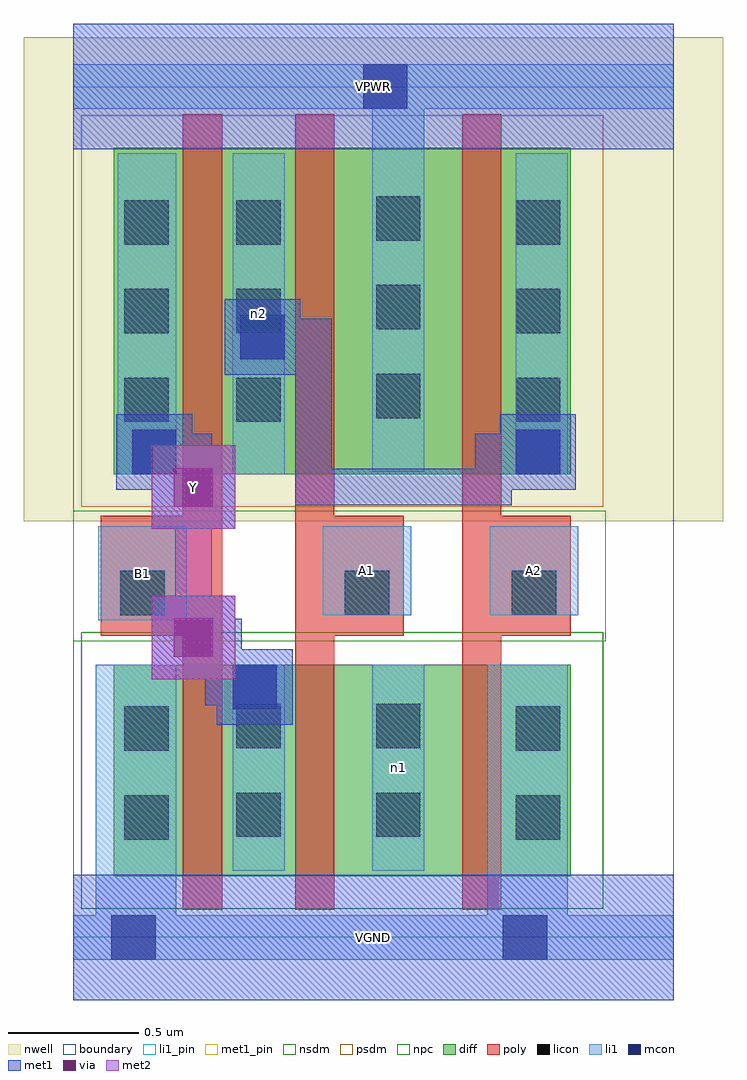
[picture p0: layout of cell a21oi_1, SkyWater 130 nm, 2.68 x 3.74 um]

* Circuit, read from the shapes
.subckt a21oi_1 A1 A2 B1 VGND VPWR Y n1 n2
XM1 Y B1 VGND VSUBS sky130_fd_pr__nfet_01v8 w=0.81 l=0.15
XM2 n1 A1 Y VSUBS sky130_fd_pr__nfet_01v8 w=0.81 l=0.15
XM3 VGND A2 n1 VSUBS sky130_fd_pr__nfet_01v8 w=0.81 l=0.15
XM4 n2 B1 Y n3 sky130_fd_pr__pfet_01v8 w=1.25 l=0.15
XM5 VPWR A1 n2 n3 sky130_fd_pr__pfet_01v8 w=1.25 l=0.15
XM6 n2 A2 VPWR n3 sky130_fd_pr__pfet_01v8 w=1.25 l=0.15
.ends

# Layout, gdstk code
import gdstk
lib = gdstk.Library(unit=1e-6, precision=1e-09)
def R(c, l, rs):  # rectangles x0, y0, x1, y1
    for r in rs: c.add(gdstk.rectangle(r[:2], r[2:], *l))
def A(c, l, x, y, w, h, nx, ny, dx, dy):  # array of equal rectangles
    R(c, l, [(x+i*dx, y+j*dy, x+i*dx+w, y+j*dy+h) for i in range(nx) for j in range(ny)])
nwell = (64, 20)
diff = (65, 20)
poly = (66, 20)
licon = (66, 44)
li1_pin = (67, 16)
li1 = (67, 20)
mcon = (67, 44)
met1_pin = (68, 16)
met1 = (68, 20)
via = (68, 44)
met2 = (69, 20)
nsdm = (93, 44)
psdm = (94, 20)
npc = (95, 20)
boundary = (235, 4)

a21oi_1 = lib.new_cell('a21oi_1')
R(a21oi_1, nwell, [(-0.19,1.595,2.49,3.45), (0,1.595,2.3,3.45)])
R(a21oi_1, diff, [(0.155,0.235,1.905,1.045), (0.155,1.775,1.905,3.025)])
R(a21oi_1, poly, [(0.42,0.105,0.57,3.155), (0.85,0.105,1,3.155), (1.49,0.105,1.64,3.155), (0.105,1.155,0.57,1.615), (0.85,1.155,1.265,1.615), (1.49,1.155,1.905,1.615)])
A(a21oi_1, licon, 0.195, 1.975, 0.17, 0.17, 1, 3, 0, 0.34)
A(a21oi_1, licon, 0.625, 1.975, 0.17, 0.17, 1, 3, 0, 0.34)
A(a21oi_1, licon, 1.695, 1.975, 0.17, 0.17, 1, 3, 0, 0.34)
A(a21oi_1, licon, 1.16, 1.99, 0.17, 0.17, 1, 3, 0, 0.34)
R(a21oi_1, licon, [(0.195,0.375,0.365,0.545), (1.695,0.375,1.865,0.545), (0.625,0.385,0.795,0.555), (1.16,0.385,1.33,0.555), (0.195,0.715,0.365,0.885), (1.695,0.715,1.865,0.885), (0.625,0.725,0.795,0.895), (1.16,0.725,1.33,0.895), (0.18,1.235,0.35,1.405), (1.04,1.235,1.21,1.405), (1.68,1.235,1.85,1.405)])
R(a21oi_1, li1_pin, [(0.095,1.215,0.435,1.575), (0.955,1.235,1.295,1.575), (1.595,1.235,1.935,1.575)])
R(a21oi_1, li1, [(0,-0.085,2.3,0.085), (0.085,-0.085,0.395,1.045), (1.585,-0.085,1.895,1.045), (0.61,0.255,0.81,1.045), (1.145,0.255,1.345,1.045), (0.095,1.215,0.435,1.575), (0.955,1.235,1.295,1.575), (1.595,1.235,1.935,1.575), (0.17,1.775,0.395,3.005), (0.61,1.775,0.81,3.005), (1.695,1.775,1.895,3.005), (1.145,1.785,1.345,3.345), (0,3.175,2.3,3.345)])
R(a21oi_1, mcon, [(0.145,-0.085,0.315,0.085), (1.645,-0.085,1.815,0.085), (0.61,0.875,0.78,1.045), (0.225,1.775,0.395,1.945), (1.695,1.775,1.865,1.945), (0.64,2.215,0.81,2.385), (1.11,3.175,1.28,3.345)])
R(a21oi_1, met1_pin, [(0,-0.24,2.3,0.24), (0.3,1.565,0.62,1.885), (0,3.02,2.3,3.5)])
R(a21oi_1, met1, [(0,-0.24,2.3,0.24), (0.55,0.815,0.84,1.105), (0.505,0.89,0.765,1.03), (0.505,0.89,0.645,1.22), (0.3,0.99,0.62,1.31), (0.39,1.08,0.645,1.22), (0.3,1.565,0.62,1.885), (0.39,1.655,0.53,1.93), (0.85,1.655,0.99,2.37), (0.85,1.655,1.68,1.795), (1.54,1.655,1.68,1.93), (0.165,1.715,0.455,2.005), (1.635,1.715,1.925,2.005), (0.24,1.79,0.53,1.93), (1.54,1.79,1.85,1.93), (0.58,2.155,0.87,2.445), (0.655,2.23,0.99,2.37), (0,3.02,2.3,3.5)])
R(a21oi_1, via, [(0.385,1.075,0.535,1.225), (0.385,1.65,0.535,1.8)])
R(a21oi_1, met2, [(0.3,0.99,0.62,1.31), (0.39,1.08,0.53,1.795), (0.3,1.565,0.62,1.885)])
R(a21oi_1, nsdm, [(0.03,0.11,2.03,1.17)])
R(a21oi_1, psdm, [(0.03,1.65,2.03,3.15)])
R(a21oi_1, npc, [(0,1.135,2.04,1.635)])
R(a21oi_1, boundary, [(0,0,2.3,3.26)])
a21oi_1.add(gdstk.Label('A1', (1.125,1.405), layer=67, texttype=5))
a21oi_1.add(gdstk.Label('A2', (1.765,1.405), layer=67, texttype=5))
a21oi_1.add(gdstk.Label('B1', (0.265,1.395), layer=67, texttype=5))
a21oi_1.add(gdstk.Label('n2', (0.71,2.39), layer=67, texttype=5))
a21oi_1.add(gdstk.Label('n1', (1.245,0.65), layer=67, texttype=5))
a21oi_1.add(gdstk.Label('Y', (0.46,1.725), layer=68, texttype=5))
a21oi_1.add(gdstk.Label('VPWR', (1.15,3.26), layer=68, texttype=5))
a21oi_1.add(gdstk.Label('VGND', (1.15,0), layer=68, texttype=5))
a21oi_1.add(gdstk.Label('A1', (1.125,1.405), layer=67, texttype=16))
a21oi_1.add(gdstk.Label('A2', (1.765,1.405), layer=67, texttype=16))
a21oi_1.add(gdstk.Label('B1', (0.265,1.395), layer=67, texttype=16))
a21oi_1.add(gdstk.Label('Y', (0.46,1.725), layer=68, texttype=16))
a21oi_1.add(gdstk.Label('VPWR', (1.15,3.26), layer=68, texttype=16))
a21oi_1.add(gdstk.Label('VGND', (1.15,0), layer=68, texttype=16))

lib.write_gds('a21oi_1.gds')
